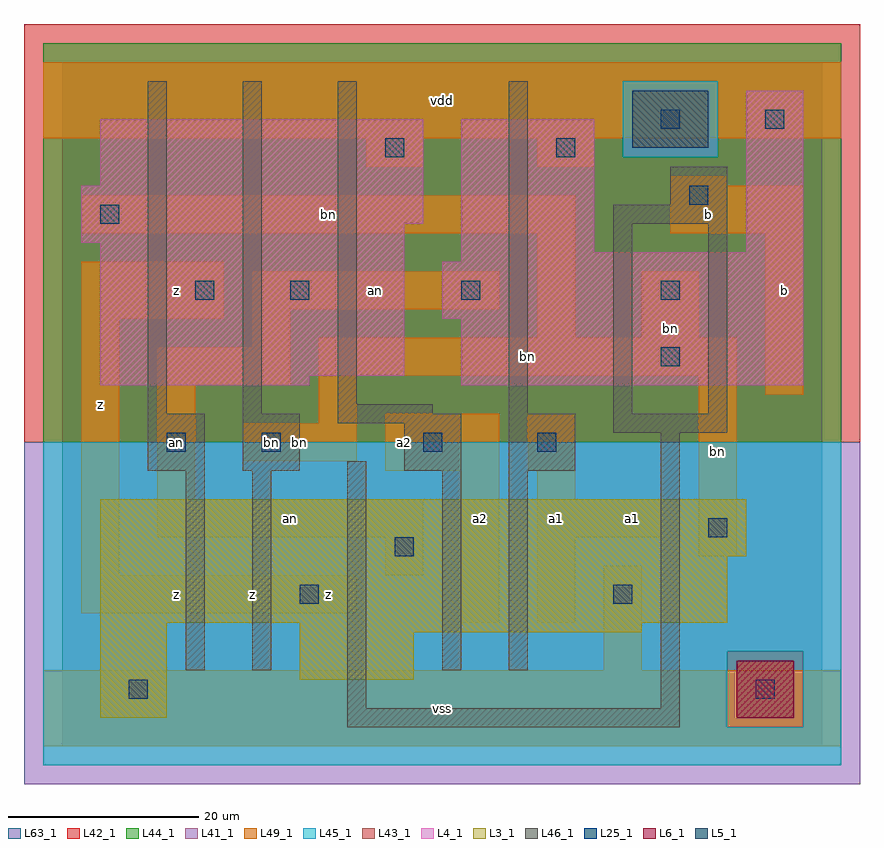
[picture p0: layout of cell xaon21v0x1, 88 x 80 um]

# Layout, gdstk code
import gdstk
lib = gdstk.Library(unit=1e-6, precision=1e-09)
def R(c, l, rs):  # rectangles x0, y0, x1, y1
    for r in rs: c.add(gdstk.rectangle(r[:2], r[2:], *l))
L3_1 = (3, 1)
L4_1 = (4, 1)
L5_1 = (5, 1)
L6_1 = (6, 1)
L25_1 = (25, 1)
L41_1 = (41, 1)
L42_1 = (42, 1)
L43_1 = (43, 1)
L44_1 = (44, 1)
L45_1 = (45, 1)
L46_1 = (46, 1)
L49_1 = (49, 1)
L63_1 = (63, 1)

xaon21v0x1 = lib.new_cell('xaon21v0x1')
R(xaon21v0x1, L3_1, [(4,3,11,13), (25,7,37,12), (25,12,61,13), (4,13,70,20), (4,20,72,26)])
R(xaon21v0x1, L4_1, [(4,38,26,39), (42,38,78,45), (4,39,36,53), (40,45,78,51), (42,51,78,52), (42,52,56,66), (72,52,78,69), (2,53,36,55), (2,55,38,59), (4,59,38,66)])
R(xaon21v0x1, L5_1, [(60,63,68,69)])
R(xaon21v0x1, L6_1, [(71,3,77,9), (71,3,77,9)])
R(xaon21v0x1, L25_1, [(7,5,9,7), (73,5,75,7), (25,15,27,17), (58,15,60,17), (35,20,37,22), (68,22,70,24), (11,31,13,33), (21,31,23,33), (38,31,40,33), (50,31,52,33), (63,40,65,42), (14,47,16,49), (24,47,26,49), (42,47,44,49), (63,47,65,49), (4,55,6,57), (66,57,68,59), (34,62,36,64), (52,62,54,64), (63,65,65,67), (74,65,76,67)])
R(xaon21v0x1, L41_1, [(-4,-4,84,32)])
R(xaon21v0x1, L42_1, [(-4,32,84,76)])
R(xaon21v0x1, L43_1, [(4,3,11,13), (71,3,77,9), (25,7,37,12), (25,12,61,13), (4,13,70,20), (4,20,72,26), (4,38,26,39), (42,38,78,45), (4,39,36,53), (40,45,78,51), (42,51,78,52), (42,52,56,66), (72,52,78,69), (2,53,36,55), (2,55,38,59), (4,59,38,66), (60,63,68,69)])
R(xaon21v0x1, L44_1, [(70,2,78,10), (-2,32,82,62), (-2,62,59,70), (69,62,82,70), (-2,70,82,74)])
R(xaon21v0x1, L45_1, [(-2,-2,82,2), (-2,2,70,10), (78,2,82,10), (-2,10,82,32), (59,62,69,70)])
R(xaon21v0x1, L46_1, [(30,2,65,4), (30,4,32,30), (63,4,65,33), (13,8,15,29), (20,8,22,29), (40,8,42,29), (47,8,49,29), (9,29,15,35), (19,29,25,35), (36,29,42,34), (47,29,54,35), (58,33,70,35), (29,34,42,35), (9,35,11,70), (19,35,21,70), (29,35,39,36), (47,35,49,70), (58,35,60,55), (68,35,70,55), (29,36,31,70), (58,55,70,57), (64,57,70,61)])
R(xaon21v0x1, L49_1, [(-2,0,82,8), (57,8,61,19), (42,13,46,29), (50,13,54,22), (2,14,31,18), (2,18,6,45), (34,18,38,22), (67,20,71,39), (10,22,38,26), (50,22,63,26), (10,26,14,38), (50,26,54,29), (34,29,46,35), (49,29,54,35), (19,30,31,34), (27,34,31,39), (74,37,78,54), (10,38,24,42), (27,39,71,43), (20,42,24,46), (50,43,54,54), (61,43,67,50), (2,45,17,51), (20,46,46,50), (2,54,54,58), (64,54,78,59), (64,59,70,60), (32,61,38,64), (50,61,56,64), (-2,64,82,72)])
R(xaon21v0x1, L63_1, [(0,0,80,72)])
xaon21v0x1.add(gdstk.Label('an', (12,32), layer=49, texttype=1))
xaon21v0x1.add(gdstk.Label('bn', (22,32), layer=49, texttype=1))
xaon21v0x1.add(gdstk.Label('z', (12,16), layer=49, texttype=1))
xaon21v0x1.add(gdstk.Label('z', (4,36), layer=49, texttype=1))
xaon21v0x1.add(gdstk.Label('an', (12,32), layer=49, texttype=1))
xaon21v0x1.add(gdstk.Label('z', (12,48), layer=49, texttype=1))
xaon21v0x1.add(gdstk.Label('z', (28,16), layer=49, texttype=1))
xaon21v0x1.add(gdstk.Label('z', (20,16), layer=49, texttype=1))
xaon21v0x1.add(gdstk.Label('an', (24,24), layer=49, texttype=1))
xaon21v0x1.add(gdstk.Label('bn', (25,32), layer=49, texttype=1))
xaon21v0x1.add(gdstk.Label('a2', (36,32), layer=49, texttype=1))
xaon21v0x1.add(gdstk.Label('vss', (40,4), layer=49, texttype=1))
xaon21v0x1.add(gdstk.Label('a2', (44,24), layer=49, texttype=1))
xaon21v0x1.add(gdstk.Label('a1', (52,24), layer=49, texttype=1))
xaon21v0x1.add(gdstk.Label('an', (33,48), layer=49, texttype=1))
xaon21v0x1.add(gdstk.Label('bn', (28,56), layer=49, texttype=1))
xaon21v0x1.add(gdstk.Label('vdd', (40,68), layer=49, texttype=1))
xaon21v0x1.add(gdstk.Label('a1', (60,24), layer=49, texttype=1))
xaon21v0x1.add(gdstk.Label('bn', (69,31), layer=49, texttype=1))
xaon21v0x1.add(gdstk.Label('bn', (64,44), layer=49, texttype=1))
xaon21v0x1.add(gdstk.Label('bn', (49,41), layer=49, texttype=1))
xaon21v0x1.add(gdstk.Label('b', (76,48), layer=49, texttype=1))
xaon21v0x1.add(gdstk.Label('b', (68,56), layer=49, texttype=1))

lib.write_gds('xaon21v0x1.gds')
